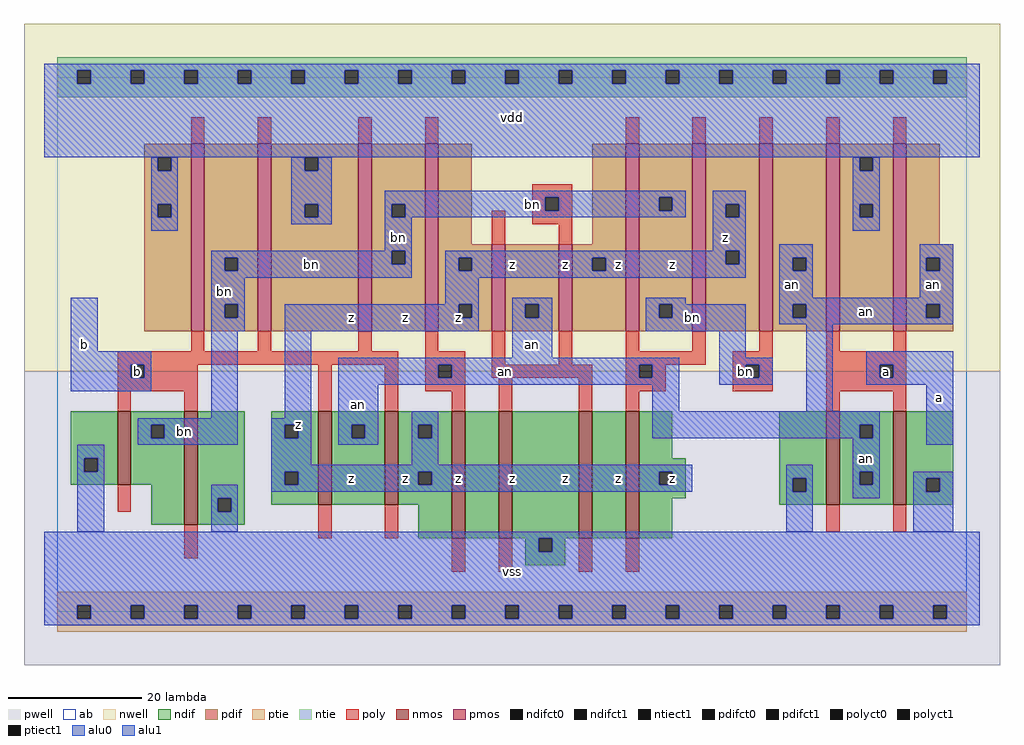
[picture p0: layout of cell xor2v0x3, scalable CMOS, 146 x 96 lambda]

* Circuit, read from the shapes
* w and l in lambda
.subckt xor2v0x3 a an b bn vdd vss z
M1 bn b vss vss nfet w=11 l=2
M2 vss b bn vss nfet w=17 l=2
M3 an b z vss nfet w=14 l=2 m=2
M4 n1 an z vss nfet w=19 l=2
M5 vss bn n1 vss nfet w=19 l=2
M6 n2 bn vss vss nfet w=19 l=2
M7 z an n2 vss nfet w=19 l=2
M8 an a vss vss nfet w=14 l=2 m=2
M9 bn b vdd vdd pfet w=28 l=2 m=3
M10 z an bn vdd pfet w=28 l=2 m=3
M11 an bn z vdd pfet w=13 l=2 m=2
M12 an bn z vdd pfet w=28 l=2
M13 vdd a an vdd pfet w=28 l=2 m=2
.ends

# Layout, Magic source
magic
tech scmos
<< ab >>
rect 0 0 136 80
<< nwell >>
rect -5 36 141 88
<< pwell >>
rect -5 -8 141 36
<< poly >>
rect 20 70 22 74
rect 30 70 32 74
rect 45 70 47 74
rect 55 70 57 74
rect 85 70 87 74
rect 95 70 97 74
rect 105 70 107 74
rect 115 70 117 74
rect 125 70 127 74
rect 71 62 77 64
rect 71 60 73 62
rect 75 60 77 62
rect 65 55 67 60
rect 71 58 77 60
rect 75 55 77 58
rect 20 39 22 42
rect 30 39 32 42
rect 45 39 47 42
rect 55 39 57 42
rect 9 37 51 39
rect 9 35 11 37
rect 13 35 21 37
rect 9 33 21 35
rect 9 30 11 33
rect 19 30 21 33
rect 39 30 41 37
rect 49 30 51 37
rect 55 37 61 39
rect 55 35 57 37
rect 59 35 61 37
rect 65 37 67 42
rect 75 37 77 42
rect 85 39 87 42
rect 95 39 97 42
rect 105 39 107 42
rect 85 37 97 39
rect 101 37 107 39
rect 65 35 80 37
rect 55 33 61 35
rect 59 30 61 33
rect 66 30 68 35
rect 78 30 80 35
rect 85 35 87 37
rect 89 35 91 37
rect 85 33 91 35
rect 101 35 103 37
rect 105 35 107 37
rect 101 33 107 35
rect 115 39 117 42
rect 125 39 127 42
rect 115 37 127 39
rect 115 35 123 37
rect 125 35 127 37
rect 115 33 127 35
rect 85 30 87 33
rect 115 30 117 33
rect 125 30 127 33
rect 9 15 11 19
rect 19 8 21 13
rect 39 11 41 16
rect 49 11 51 16
rect 115 12 117 16
rect 125 12 127 16
rect 59 6 61 11
rect 66 6 68 11
rect 78 6 80 11
rect 85 6 87 11
<< ndif >>
rect 2 23 9 30
rect 2 21 4 23
rect 6 21 9 23
rect 2 19 9 21
rect 11 28 19 30
rect 11 26 14 28
rect 16 26 19 28
rect 11 19 19 26
rect 14 13 19 19
rect 21 17 28 30
rect 21 15 24 17
rect 26 15 28 17
rect 32 28 39 30
rect 32 26 34 28
rect 36 26 39 28
rect 32 21 39 26
rect 32 19 34 21
rect 36 19 39 21
rect 32 16 39 19
rect 41 28 49 30
rect 41 26 44 28
rect 46 26 49 28
rect 41 16 49 26
rect 51 28 59 30
rect 51 26 54 28
rect 56 26 59 28
rect 51 21 59 26
rect 51 19 54 21
rect 56 19 59 21
rect 51 16 59 19
rect 21 13 28 15
rect 54 11 59 16
rect 61 11 66 30
rect 68 11 78 30
rect 80 11 85 30
rect 87 23 92 30
rect 87 21 94 23
rect 87 19 90 21
rect 92 19 94 21
rect 87 17 94 19
rect 108 20 115 30
rect 108 18 110 20
rect 112 18 115 20
rect 87 11 92 17
rect 108 16 115 18
rect 117 28 125 30
rect 117 26 120 28
rect 122 26 125 28
rect 117 21 125 26
rect 117 19 120 21
rect 122 19 125 21
rect 117 16 125 19
rect 127 20 134 30
rect 127 18 130 20
rect 132 18 134 20
rect 127 16 134 18
rect 70 9 72 11
rect 74 9 76 11
rect 70 7 76 9
<< pdif >>
rect 13 68 20 70
rect 13 66 15 68
rect 17 66 20 68
rect 13 61 20 66
rect 13 59 15 61
rect 17 59 20 61
rect 13 42 20 59
rect 22 53 30 70
rect 22 51 25 53
rect 27 51 30 53
rect 22 46 30 51
rect 22 44 25 46
rect 27 44 30 46
rect 22 42 30 44
rect 32 68 45 70
rect 32 66 37 68
rect 39 66 45 68
rect 32 61 45 66
rect 32 59 37 61
rect 39 59 45 61
rect 32 42 45 59
rect 47 61 55 70
rect 47 59 50 61
rect 52 59 55 61
rect 47 54 55 59
rect 47 52 50 54
rect 52 52 55 54
rect 47 42 55 52
rect 57 55 62 70
rect 80 55 85 70
rect 57 53 65 55
rect 57 51 60 53
rect 62 51 65 53
rect 57 46 65 51
rect 57 44 60 46
rect 62 44 65 46
rect 57 42 65 44
rect 67 46 75 55
rect 67 44 70 46
rect 72 44 75 46
rect 67 42 75 44
rect 77 53 85 55
rect 77 51 80 53
rect 82 51 85 53
rect 77 42 85 51
rect 87 62 95 70
rect 87 60 90 62
rect 92 60 95 62
rect 87 46 95 60
rect 87 44 90 46
rect 92 44 95 46
rect 87 42 95 44
rect 97 61 105 70
rect 97 59 100 61
rect 102 59 105 61
rect 97 54 105 59
rect 97 52 100 54
rect 102 52 105 54
rect 97 42 105 52
rect 107 53 115 70
rect 107 51 110 53
rect 112 51 115 53
rect 107 46 115 51
rect 107 44 110 46
rect 112 44 115 46
rect 107 42 115 44
rect 117 68 125 70
rect 117 66 120 68
rect 122 66 125 68
rect 117 61 125 66
rect 117 59 120 61
rect 122 59 125 61
rect 117 42 125 59
rect 127 55 132 70
rect 127 53 134 55
rect 127 51 130 53
rect 132 51 134 53
rect 127 46 134 51
rect 127 44 130 46
rect 132 44 134 46
rect 127 42 134 44
<< alu1 >>
rect -2 81 138 82
rect -2 79 3 81
rect 5 79 11 81
rect 13 79 19 81
rect 21 79 27 81
rect 29 79 35 81
rect 37 79 43 81
rect 45 79 51 81
rect 53 79 59 81
rect 61 79 67 81
rect 69 79 75 81
rect 77 79 83 81
rect 85 79 91 81
rect 93 79 99 81
rect 101 79 107 81
rect 109 79 115 81
rect 117 79 123 81
rect 125 79 131 81
rect 133 79 138 81
rect -2 68 138 79
rect 98 61 103 63
rect 98 59 100 61
rect 102 59 103 61
rect 98 54 103 59
rect 58 53 100 54
rect 58 51 60 53
rect 62 51 80 53
rect 82 52 100 53
rect 102 52 103 54
rect 82 51 103 52
rect 58 50 103 51
rect 2 39 6 47
rect 58 46 63 50
rect 34 44 60 46
rect 62 44 63 46
rect 34 42 63 44
rect 2 37 14 39
rect 2 35 11 37
rect 13 35 14 37
rect 2 33 14 35
rect 34 29 38 42
rect 32 28 38 29
rect 32 26 34 28
rect 36 26 38 28
rect 32 22 38 26
rect 121 37 134 39
rect 121 35 123 37
rect 125 35 134 37
rect 121 34 134 35
rect 53 28 57 30
rect 53 26 54 28
rect 56 26 57 28
rect 53 22 57 26
rect 32 21 95 22
rect 32 19 34 21
rect 36 19 54 21
rect 56 19 90 21
rect 92 19 95 21
rect 32 18 95 19
rect 130 25 134 34
rect -2 11 138 12
rect -2 9 72 11
rect 74 9 138 11
rect -2 1 138 9
rect -2 -1 3 1
rect 5 -1 11 1
rect 13 -1 19 1
rect 21 -1 27 1
rect 29 -1 35 1
rect 37 -1 43 1
rect 45 -1 51 1
rect 53 -1 59 1
rect 61 -1 67 1
rect 69 -1 75 1
rect 77 -1 83 1
rect 85 -1 91 1
rect 93 -1 99 1
rect 101 -1 107 1
rect 109 -1 115 1
rect 117 -1 123 1
rect 125 -1 131 1
rect 133 -1 138 1
rect -2 -2 138 -1
<< ptie >>
rect 0 1 136 3
rect 0 -1 3 1
rect 5 -1 11 1
rect 13 -1 19 1
rect 21 -1 27 1
rect 29 -1 35 1
rect 37 -1 43 1
rect 45 -1 51 1
rect 53 -1 59 1
rect 61 -1 67 1
rect 69 -1 75 1
rect 77 -1 83 1
rect 85 -1 91 1
rect 93 -1 99 1
rect 101 -1 107 1
rect 109 -1 115 1
rect 117 -1 123 1
rect 125 -1 131 1
rect 133 -1 136 1
rect 0 -3 136 -1
<< ntie >>
rect 0 81 136 83
rect 0 79 3 81
rect 5 79 11 81
rect 13 79 19 81
rect 21 79 27 81
rect 29 79 35 81
rect 37 79 43 81
rect 45 79 51 81
rect 53 79 59 81
rect 61 79 67 81
rect 69 79 75 81
rect 77 79 83 81
rect 85 79 91 81
rect 93 79 99 81
rect 101 79 107 81
rect 109 79 115 81
rect 117 79 123 81
rect 125 79 131 81
rect 133 79 136 81
rect 0 77 136 79
<< nmos >>
rect 9 19 11 30
rect 19 13 21 30
rect 39 16 41 30
rect 49 16 51 30
rect 59 11 61 30
rect 66 11 68 30
rect 78 11 80 30
rect 85 11 87 30
rect 115 16 117 30
rect 125 16 127 30
<< pmos >>
rect 20 42 22 70
rect 30 42 32 70
rect 45 42 47 70
rect 55 42 57 70
rect 65 42 67 55
rect 75 42 77 55
rect 85 42 87 70
rect 95 42 97 70
rect 105 42 107 70
rect 115 42 117 70
rect 125 42 127 70
<< polyct0 >>
rect 73 60 75 62
rect 57 35 59 37
rect 87 35 89 37
rect 103 35 105 37
<< polyct1 >>
rect 11 35 13 37
rect 123 35 125 37
<< ndifct0 >>
rect 4 21 6 23
rect 14 26 16 28
rect 24 15 26 17
rect 44 26 46 28
rect 110 18 112 20
rect 120 26 122 28
rect 120 19 122 21
rect 130 18 132 20
<< ndifct1 >>
rect 34 26 36 28
rect 34 19 36 21
rect 54 26 56 28
rect 54 19 56 21
rect 90 19 92 21
rect 72 9 74 11
<< ntiect1 >>
rect 3 79 5 81
rect 11 79 13 81
rect 19 79 21 81
rect 27 79 29 81
rect 35 79 37 81
rect 43 79 45 81
rect 51 79 53 81
rect 59 79 61 81
rect 67 79 69 81
rect 75 79 77 81
rect 83 79 85 81
rect 91 79 93 81
rect 99 79 101 81
rect 107 79 109 81
rect 115 79 117 81
rect 123 79 125 81
rect 131 79 133 81
<< ptiect1 >>
rect 3 -1 5 1
rect 11 -1 13 1
rect 19 -1 21 1
rect 27 -1 29 1
rect 35 -1 37 1
rect 43 -1 45 1
rect 51 -1 53 1
rect 59 -1 61 1
rect 67 -1 69 1
rect 75 -1 77 1
rect 83 -1 85 1
rect 91 -1 93 1
rect 99 -1 101 1
rect 107 -1 109 1
rect 115 -1 117 1
rect 123 -1 125 1
rect 131 -1 133 1
<< pdifct0 >>
rect 15 66 17 68
rect 15 59 17 61
rect 25 51 27 53
rect 25 44 27 46
rect 37 66 39 68
rect 37 59 39 61
rect 50 59 52 61
rect 50 52 52 54
rect 70 44 72 46
rect 90 60 92 62
rect 90 44 92 46
rect 110 51 112 53
rect 110 44 112 46
rect 120 66 122 68
rect 120 59 122 61
rect 130 51 132 53
rect 130 44 132 46
<< pdifct1 >>
rect 60 51 62 53
rect 60 44 62 46
rect 80 51 82 53
rect 100 59 102 61
rect 100 52 102 54
<< alu0 >>
rect 14 66 15 68
rect 17 66 18 68
rect 14 61 18 66
rect 14 59 15 61
rect 17 59 18 61
rect 14 57 18 59
rect 35 66 37 68
rect 39 66 41 68
rect 35 61 41 66
rect 119 66 120 68
rect 122 66 123 68
rect 35 59 37 61
rect 39 59 41 61
rect 35 58 41 59
rect 49 62 94 63
rect 49 61 73 62
rect 49 59 50 61
rect 52 60 73 61
rect 75 60 90 62
rect 92 60 94 62
rect 52 59 94 60
rect 49 54 53 59
rect 119 61 123 66
rect 119 59 120 61
rect 122 59 123 61
rect 119 57 123 59
rect 23 53 50 54
rect 23 51 25 53
rect 27 52 50 53
rect 52 52 53 54
rect 27 51 53 52
rect 23 50 53 51
rect 108 53 113 55
rect 108 51 110 53
rect 112 51 113 53
rect 23 46 28 50
rect 108 47 113 51
rect 129 53 134 55
rect 129 51 130 53
rect 132 51 134 53
rect 129 47 134 51
rect 23 44 25 46
rect 27 44 28 46
rect 23 42 28 44
rect 68 46 74 47
rect 68 44 70 46
rect 72 44 74 46
rect 23 29 27 42
rect 68 38 74 44
rect 88 46 94 47
rect 108 46 134 47
rect 88 44 90 46
rect 92 44 103 46
rect 88 42 103 44
rect 108 44 110 46
rect 112 44 130 46
rect 132 44 134 46
rect 108 43 134 44
rect 99 38 103 42
rect 12 28 27 29
rect 12 26 14 28
rect 16 26 27 28
rect 12 25 27 26
rect 3 23 7 25
rect 3 21 4 23
rect 6 21 7 23
rect 3 12 7 21
rect 42 37 93 38
rect 42 35 57 37
rect 59 35 87 37
rect 89 35 93 37
rect 42 34 93 35
rect 99 37 107 38
rect 99 35 103 37
rect 105 35 107 37
rect 99 34 107 35
rect 42 28 48 34
rect 89 30 93 34
rect 112 30 116 43
rect 42 26 44 28
rect 46 26 48 28
rect 42 25 48 26
rect 89 28 123 30
rect 89 26 120 28
rect 122 26 123 28
rect 23 17 27 19
rect 109 20 113 22
rect 109 18 110 20
rect 112 18 113 20
rect 23 15 24 17
rect 26 15 27 17
rect 23 12 27 15
rect 109 12 113 18
rect 119 21 123 26
rect 119 19 120 21
rect 122 19 123 21
rect 119 17 123 19
rect 128 20 134 21
rect 128 18 130 20
rect 132 18 134 20
rect 128 12 134 18
<< labels >>
rlabel alu0 19 27 19 27 6 bn
rlabel alu0 45 31 45 31 6 an
rlabel alu0 51 56 51 56 6 bn
rlabel alu0 38 52 38 52 6 bn
rlabel alu0 25 48 25 48 6 bn
rlabel alu0 71 40 71 40 6 an
rlabel alu0 67 36 67 36 6 an
rlabel alu0 95 44 95 44 6 bn
rlabel alu0 71 61 71 61 6 bn
rlabel alu0 121 23 121 23 6 an
rlabel alu0 121 45 121 45 6 an
rlabel alu0 103 36 103 36 6 bn
rlabel alu0 131 49 131 49 6 an
rlabel alu0 110 49 110 49 6 an
rlabel polyct1 12 36 12 36 6 b
rlabel alu1 4 40 4 40 6 b
rlabel alu1 44 20 44 20 6 z
rlabel alu1 52 20 52 20 6 z
rlabel alu1 60 20 60 20 6 z
rlabel alu1 36 28 36 28 6 z
rlabel alu1 44 44 44 44 6 z
rlabel alu1 52 44 52 44 6 z
rlabel alu1 60 44 60 44 6 z
rlabel alu1 68 6 68 6 6 vss
rlabel alu1 76 20 76 20 6 z
rlabel alu1 84 20 84 20 6 z
rlabel alu1 92 20 92 20 6 z
rlabel alu1 68 20 68 20 6 z
rlabel alu1 68 52 68 52 6 z
rlabel alu1 84 52 84 52 6 z
rlabel alu1 92 52 92 52 6 z
rlabel alu1 100 56 100 56 6 z
rlabel alu1 76 52 76 52 6 z
rlabel alu1 68 74 68 74 6 vdd
rlabel polyct1 124 36 124 36 6 a
rlabel alu1 132 32 132 32 6 a
<< end >>
